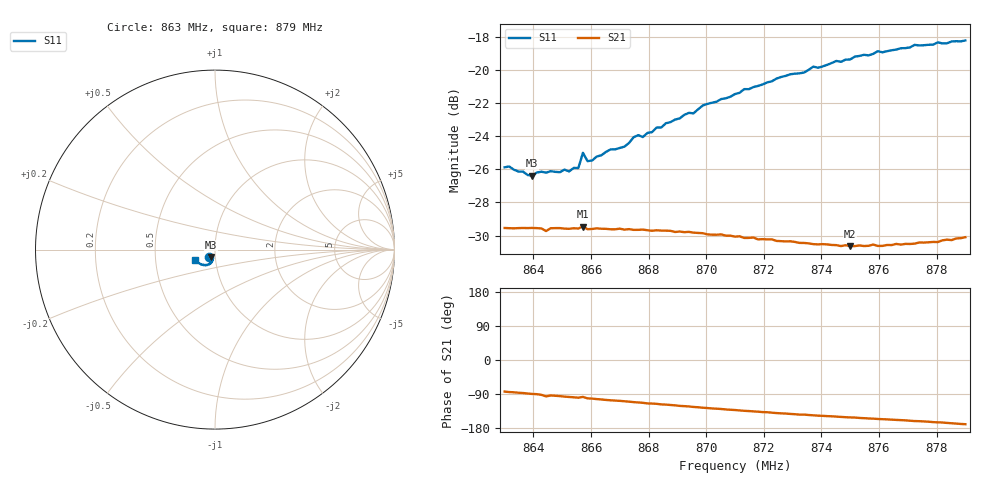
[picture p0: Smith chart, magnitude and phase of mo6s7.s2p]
# HZ S RI R 50
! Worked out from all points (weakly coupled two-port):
!   101 points, 863 MHz to 879 MHz, reference 50 ohm
!   highest |S21| = -29.46 dB at 865.72 MHz (marker M1); lowest = -30.6 dB at 875 MHz (marker M2)
!   lowest |S11| = -26.4 dB at 863.96 MHz (marker M3), VSWR 1.10, Z = 47.5 - j3.96 ohm
!   |S11| at or under -10 dB: start of sweep to end of sweep
!   S12 and S22 are empty: the file has one direction only
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8.63e8  -0.0316 -0.0399  0.00387 -0.0331  0 0  0 0
8.6396e8  -0.0239 -0.0415  0.000239 -0.0333  0 0  0 0
8.6444e8  -0.0229 -0.0433  -0.00343 -0.0324  0 0  0 0
8.6556e8  -0.0165 -0.0478  -0.00552 -0.0327  0 0  0 0
8.6572e8  -0.0193 -0.0528  -0.0043 -0.0334  0 0  0 0
8.6588e8  -0.0169 -0.0503  -0.00647 -0.0324  0 0  0 0
8.6604e8  -0.0156 -0.051  -0.00682 -0.0324  0 0  0 0
8.6668e8  -0.0163 -0.0552  -0.00927 -0.0317  0 0  0 0
8.6716e8  -0.0155 -0.0567  -0.0107 -0.0312  0 0  0 0
8.6748e8  -0.0148 -0.0609  -0.0119 -0.0307  0 0  0 0
8.678e8  -0.0163 -0.0606  -0.0129 -0.0304  0 0  0 0
8.6844e8  -0.0164 -0.0651  -0.015 -0.0291  0 0  0 0
8.6924e8  -0.0195 -0.0707  -0.017 -0.0275  0 0  0 0
8.6956e8  -0.0209 -0.071  -0.018 -0.0268  0 0  0 0
8.6988e8  -0.0233 -0.0747  -0.0189 -0.026  0 0  0 0
8.71e8  -0.0297 -0.0793  -0.021 -0.0233  0 0  0 0
8.726e8  -0.0425 -0.0854  -0.0235 -0.0192  0 0  0 0
8.734e8  -0.0485 -0.0856  -0.0243 -0.0176  0 0  0 0
8.7372e8  -0.0534 -0.0875  -0.0247 -0.0167  0 0  0 0
8.75e8  -0.0668 -0.0846  -0.0258 -0.014  0 0  0 0
8.7644e8  -0.0831 -0.0793  -0.0273 -0.0114  0 0  0 0
8.79e8  -0.109 -0.0571  -0.0307 -0.00576  0 0  0 0
